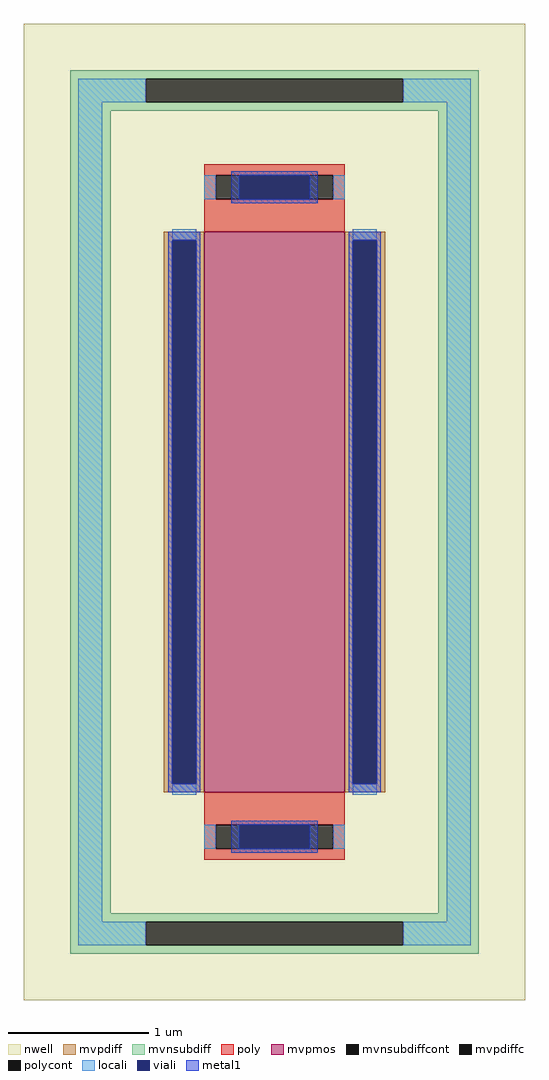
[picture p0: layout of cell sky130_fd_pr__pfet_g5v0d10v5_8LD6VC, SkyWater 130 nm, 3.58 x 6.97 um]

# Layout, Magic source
magic
tech sky130A
magscale 1 2
<< nwell >>
rect -358 -697 358 697
<< mvpmos >>
rect -100 -400 100 400
<< mvpdiff >>
rect -158 388 -100 400
rect -158 -388 -146 388
rect -112 -388 -100 388
rect -158 -400 -100 -388
rect 100 388 158 400
rect 100 -388 112 388
rect 146 -388 158 388
rect 100 -400 158 -388
<< mvpdiffc >>
rect -146 -388 -112 388
rect 112 -388 146 388
<< mvnsubdiff >>
rect -292 619 292 631
rect -292 585 -184 619
rect 184 585 292 619
rect -292 573 292 585
rect -292 -573 -234 573
rect 234 -573 292 573
rect -292 -585 292 -573
rect -292 -619 -184 -585
rect 184 -619 292 -585
rect -292 -631 292 -619
<< mvnsubdiffcont >>
rect -184 585 184 619
rect -184 -619 184 -585
<< poly >>
rect -100 481 100 497
rect -100 447 -84 481
rect 84 447 100 481
rect -100 400 100 447
rect -100 -447 100 -400
rect -100 -481 -84 -447
rect 84 -481 100 -447
rect -100 -497 100 -481
<< polycont >>
rect -84 447 84 481
rect -84 -481 84 -447
<< locali >>
rect -280 585 -184 619
rect 184 585 280 619
rect -280 -585 -246 585
rect -100 447 -84 481
rect 84 447 100 481
rect -146 388 -112 404
rect -146 -404 -112 -388
rect 112 388 146 404
rect 112 -404 146 -388
rect -100 -481 -84 -447
rect 84 -481 100 -447
rect 246 -585 280 585
rect -280 -619 -184 -585
rect 184 -619 280 -585
<< viali >>
rect -50 447 50 481
rect -146 -388 -112 388
rect 112 -388 146 388
rect -50 -481 50 -447
<< metal1 >>
rect -62 481 62 487
rect -62 447 -50 481
rect 50 447 62 481
rect -62 441 62 447
rect -152 388 -106 400
rect -152 -388 -146 388
rect -112 -388 -106 388
rect -152 -400 -106 -388
rect 106 388 152 400
rect 106 -388 112 388
rect 146 -388 152 388
rect 106 -400 152 -388
rect -62 -447 62 -441
rect -62 -481 -50 -447
rect 50 -481 62 -447
rect -62 -487 62 -481
<< properties >>
string FIXED_BBOX -263 -602 263 602
string gencell sky130_fd_pr__pfet_g5v0d10v5
string library sky130
string parameters w 4 l 1 m 1 nf 1 diffcov 100 polycov 100 guard 1 glc 1 grc 1 gtc 1 gbc 1 tbcov 100 rlcov 0 topc 1 botc 1 poverlap 0 doverlap 1 lmin 0.50 wmin 0.42 compatible {sky130_fd_pr__pfet_01v8  sky130_fd_pr__pfet_01v8_lvt sky130_fd_pr__pfet_01v8_hvt  sky130_fd_pr__pfet_g5v0d10v5} full_metal 1 viasrc 100 viadrn 100 viagate 60 viagb 0 viagr 0 viagl 0 viagt 0
<< end >>
